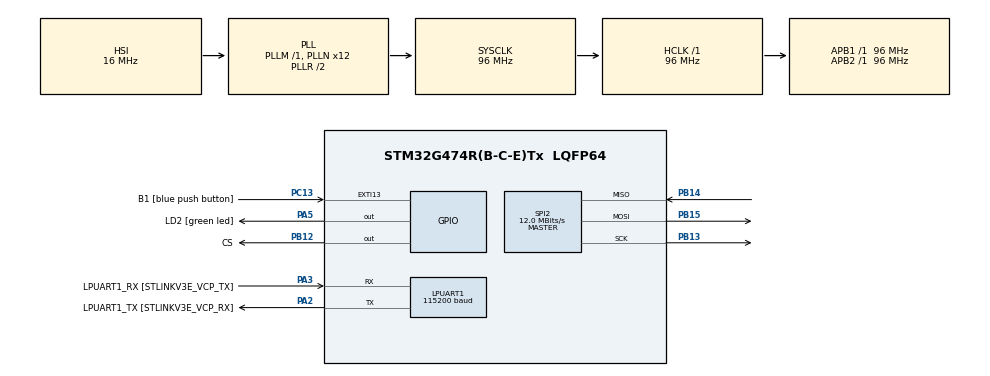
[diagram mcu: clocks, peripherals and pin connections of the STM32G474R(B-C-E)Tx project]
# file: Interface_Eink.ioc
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LPUART1.BaudRate=115200
LPUART1.WordLength=UART_WORDLENGTH_8B
Mcu.Family=STM32G4
Mcu.Name=STM32G474R(B-C-E)Tx
Mcu.Package=LQFP64
NVIC.EXTI15_10_IRQn=true\:0\:0\:false\:false\:true\:true\:true\:true
NVIC.PriorityGroup=NVIC_PRIORITYGROUP_4
PA13.GPIO_Label=T_SWDIO
PA13.Mode=Serial_Wire
PA13.Signal=SYS_JTMS-SWDIO
PA14.GPIO_Label=T_SWCLK
PA14.Mode=Serial_Wire
PA14.Signal=SYS_JTCK-SWCLK
PA2.GPIO_Label=LPUART1_TX [STLINKV3E_VCP_RX]
PA2.Mode=Asynchronous
PA2.Signal=LPUART1_TX
PA3.GPIO_Label=LPUART1_RX [STLINKV3E_VCP_TX]
PA3.Mode=Asynchronous
PA3.Signal=LPUART1_RX
PA5.GPIO_Label=LD2 [green led]
PA5.Signal=GPIO_Output
PB12.GPIO_Label=CS
PB12.GPIO_PuPd=GPIO_PULLUP
PB12.GPIO_Speed=GPIO_SPEED_FREQ_MEDIUM
PB12.PinState=GPIO_PIN_SET
PB12.Signal=GPIO_Output
PB13.GPIO_PuPd=GPIO_PULLDOWN
PB13.GPIO_Speed=GPIO_SPEED_FREQ_HIGH
PB13.Mode=Full_Duplex_Master
PB13.Signal=SPI2_SCK
PB14.GPIO_PuPd=GPIO_PULLDOWN
PB14.GPIO_Speed=GPIO_SPEED_FREQ_HIGH
PB14.Mode=Full_Duplex_Master
PB14.Signal=SPI2_MISO
PB15.GPIO_PuPd=GPIO_PULLDOWN
PB15.GPIO_Speed=GPIO_SPEED_FREQ_HIGH
PB15.Mode=Full_Duplex_Master
PB15.Signal=SPI2_MOSI
PB3.GPIO_Label=T_SWO
PB3.Signal=SYS_JTDO-SWO
PC13.GPIO_Label=B1 [blue push button]
PC13.Signal=GPXTI13
PC14-OSC32_IN.Mode=LSE-External-Oscillator
PC14-OSC32_IN.Signal=RCC_OSC32_IN
PC15-OSC32_OUT.Mode=LSE-External-Oscillator
PC15-OSC32_OUT.Signal=RCC_OSC32_OUT
PF0-OSC_IN.Mode=HSE-External-Oscillator
PF0-OSC_IN.Signal=RCC_OSC_IN
PF1-OSC_OUT.Mode=HSE-External-Oscillator
PF1-OSC_OUT.Signal=RCC_OSC_OUT
ProjectManager.HeapSize=0x200
ProjectManager.StackSize=0x400
ProjectManager.TargetToolchain=STM32CubeIDE
RCC.ADC12Freq_Value=96000000
RCC.ADC345Freq_Value=96000000
RCC.AHBFreq_Value=96000000
RCC.APB1Freq_Value=96000000
RCC.APB1TimFreq_Value=96000000
RCC.APB2Freq_Value=96000000
RCC.APB2TimFreq_Value=96000000
RCC.CortexFreq_Value=96000000
RCC.EXTERNAL_CLOCK_VALUE=12288000
RCC.HCLKFreq_Value=96000000
RCC.HSE_VALUE=24000000
RCC.HSI48_VALUE=48000000
RCC.HSI_VALUE=16000000
RCC.PLLN=12
RCC.RTCClockSelection=RCC_RTCCLKSOURCE_LSE
RCC.SYSCLKFreq_VALUE=96000000
RCC.SYSCLKSource=RCC_SYSCLKSOURCE_PLLCLK
RCC.USBFreq_Value=96000000
RCC.VCOOutputFreq_Value=192000000
SPI2.BaudRatePrescaler=SPI_BAUDRATEPRESCALER_8
SPI2.CalculateBaudRate=12.0 MBits/s
SPI2.DataSize=SPI_DATASIZE_16BIT
SPI2.Direction=SPI_DIRECTION_2LINES
SPI2.Mode=SPI_MODE_MASTER
SPI2.NSSPMode=SPI_NSS_PULSE_DISABLE
SPI2.VirtualType=VM_MASTER
VP_SYS_VS_DBSignals.Mode=DisableDeadBatterySignals
board=NUCLEO-G474RE

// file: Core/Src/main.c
/* USER CODE BEGIN Header */
/**
  ******************************************************************************
  * @file           : main.c
  * @brief          : Main program body
  ******************************************************************************
  * @attention
  *
  * Copyright (c) 2023 STMicroelectronics.
  * All rights reserved.
  *
  * This software is licensed under terms that can be found in the LICENSE file
  * in the root directory of this software component.
  * If no LICENSE file comes with this software, it is provided AS-IS.
  *
  ******************************************************************************
  */
/* USER CODE END Header */
#include "main.h"
#include "../../Drivers/Eink_interface/Inc/Eink_driver.h"
#include <String.h>

UART_HandleTypeDef hlpuart1;

SPI_HandleTypeDef hspi2;

/* USER CODE BEGIN PV */
IT8951Info screenInfo;
ImageLoadSettings renderSettings;
uint16_t FrameBuf[48508];
/* USER CODE END PV */

void SystemClock_Config(void);
static void MX_GPIO_Init(void);
static void MX_LPUART1_UART_Init(void);
static void MX_SPI2_Init(void);

int main(void)
{

  /* MCU Configuration--------------------------------------------------------*/

  /* Reset of all peripherals, Initializes the Flash interface and the Systick. */
  HAL_Init();

  /* Configure the system clock */
  SystemClock_Config();

  /* Initialize all configured peripherals */
  MX_GPIO_Init();
  MX_LPUART1_UART_Init();
  MX_SPI2_Init();
  /* USER CODE BEGIN 2 */
  resetDriver();
	getIT8951Info(&hspi2, &screenInfo);

	writeScreenRegister(&hspi2, 0x0000+0x04, 0x0001);

	renderSettings.endianType = 0; //little
	renderSettings.pixelFormat = 3;
	renderSettings.rotation = 0;

	renderSettings.xBegin = 0;
	renderSettings.yBegin = 0;
	renderSettings.xWidth = screenInfo.screenWidth;
	renderSettings.yHeight = screenInfo.screenWidth;
  /* USER CODE END 2 */

  /* Infinite loop */
  /* USER CODE BEGIN WHILE */
  while (1)
  {
	memset(FrameBuf, 0x00, (screenInfo.screenWidth * screenInfo.screenHeight)/32);
	//	IT8951WaitForDisplayReady();
	IT8951HostAreaPackedPixelWrite(&hspi2, &screenInfo, &renderSettings, FrameBuf);
	IT8951DisplayArea(&hspi2, &renderSettings, 2);
	HAL_Delay(100);
    /* USER CODE END WHILE */

  }
}

void SystemClock_Config(void)
{
  RCC_OscInitTypeDef RCC_OscInitStruct = {0};
  RCC_ClkInitTypeDef RCC_ClkInitStruct = {0};

  /** Configure the main internal regulator output voltage
  */
  HAL_PWREx_ControlVoltageScaling(PWR_REGULATOR_VOLTAGE_SCALE1);

  /** Initializes the RCC Oscillators according to the specified parameters
  * in the RCC_OscInitTypeDef structure.
  */
  RCC_OscInitStruct.OscillatorType = RCC_OSCILLATORTYPE_HSI;
  RCC_OscInitStruct.HSIState = RCC_HSI_ON;
  RCC_OscInitStruct.HSICalibrationValue = RCC_HSICALIBRATION_DEFAULT;
  RCC_OscInitStruct.PLL.PLLState = RCC_PLL_ON;
  RCC_OscInitStruct.PLL.PLLSource = RCC_PLLSOURCE_HSI;
  RCC_OscInitStruct.PLL.PLLM = RCC_PLLM_DIV1;
  RCC_OscInitStruct.PLL.PLLN = 12;
  RCC_OscInitStruct.PLL.PLLP = RCC_PLLP_DIV2;
  RCC_OscInitStruct.PLL.PLLQ = RCC_PLLQ_DIV2;
  RCC_OscInitStruct.PLL.PLLR = RCC_PLLR_DIV2;
  if (HAL_RCC_OscConfig(&RCC_OscInitStruct) != HAL_OK)
  {
    Error_Handler();
  }

  /** Initializes the CPU, AHB and APB buses clocks
  */
  RCC_ClkInitStruct.ClockType = RCC_CLOCKTYPE_HCLK|RCC_CLOCKTYPE_SYSCLK
                              |RCC_CLOCKTYPE_PCLK1|RCC_CLOCKTYPE_PCLK2;
  RCC_ClkInitStruct.SYSCLKSource = RCC_SYSCLKSOURCE_PLLCLK;
  RCC_ClkInitStruct.AHBCLKDivider = RCC_SYSCLK_DIV1;
  RCC_ClkInitStruct.APB1CLKDivider = RCC_HCLK_DIV1;
  RCC_ClkInitStruct.APB2CLKDivider = RCC_HCLK_DIV1;

  if (HAL_RCC_ClockConfig(&RCC_ClkInitStruct, FLASH_LATENCY_3) != HAL_OK)
  {
    Error_Handler();
  }
}

static void MX_LPUART1_UART_Init(void)
{

  hlpuart1.Instance = LPUART1;
  hlpuart1.Init.BaudRate = 115200;
  hlpuart1.Init.WordLength = UART_WORDLENGTH_8B;
  hlpuart1.Init.StopBits = UART_STOPBITS_1;
  hlpuart1.Init.Parity = UART_PARITY_NONE;
  hlpuart1.Init.Mode = UART_MODE_TX_RX;
  hlpuart1.Init.HwFlowCtl = UART_HWCONTROL_NONE;
  hlpuart1.Init.OneBitSampling = UART_ONE_BIT_SAMPLE_DISABLE;
  hlpuart1.Init.ClockPrescaler = UART_PRESCALER_DIV1;
  hlpuart1.AdvancedInit.AdvFeatureInit = UART_ADVFEATURE_NO_INIT;
  if (HAL_UART_Init(&hlpuart1) != HAL_OK)
  {
    Error_Handler();
  }
  if (HAL_UARTEx_SetTxFifoThreshold(&hlpuart1, UART_TXFIFO_THRESHOLD_1_8) != HAL_OK)
  {
    Error_Handler();
  }
  if (HAL_UARTEx_SetRxFifoThreshold(&hlpuart1, UART_RXFIFO_THRESHOLD_1_8) != HAL_OK)
  {
    Error_Handler();
  }
  if (HAL_UARTEx_DisableFifoMode(&hlpuart1) != HAL_OK)
  {
    Error_Handler();
  }

}

static void MX_SPI2_Init(void)
{

  /* SPI2 parameter configuration*/
  hspi2.Instance = SPI2;
  hspi2.Init.Mode = SPI_MODE_MASTER;
  hspi2.Init.Direction = SPI_DIRECTION_2LINES;
  hspi2.Init.DataSize = SPI_DATASIZE_16BIT;
  hspi2.Init.CLKPolarity = SPI_POLARITY_LOW;
  hspi2.Init.CLKPhase = SPI_PHASE_1EDGE;
  hspi2.Init.NSS = SPI_NSS_SOFT;
  hspi2.Init.BaudRatePrescaler = SPI_BAUDRATEPRESCALER_8;
  hspi2.Init.FirstBit = SPI_FIRSTBIT_MSB;
  hspi2.Init.TIMode = SPI_TIMODE_DISABLE;
  hspi2.Init.CRCCalculation = SPI_CRCCALCULATION_DISABLE;
  hspi2.Init.CRCPolynomial = 7;
  hspi2.Init.CRCLength = SPI_CRC_LENGTH_DATASIZE;
  hspi2.Init.NSSPMode = SPI_NSS_PULSE_DISABLE;
  if (HAL_SPI_Init(&hspi2) != HAL_OK)
  {
    Error_Handler();
  }

}

static void MX_GPIO_Init(void)
{
  GPIO_InitTypeDef GPIO_InitStruct = {0};

  /* GPIO Ports Clock Enable */
  __HAL_RCC_GPIOC_CLK_ENABLE();
  __HAL_RCC_GPIOF_CLK_ENABLE();
  __HAL_RCC_GPIOA_CLK_ENABLE();
  __HAL_RCC_GPIOB_CLK_ENABLE();

  /*Configure GPIO pin Output Level */
  HAL_GPIO_WritePin(LD2_GPIO_Port, LD2_Pin, GPIO_PIN_RESET);

  /*Configure GPIO pin Output Level */
  HAL_GPIO_WritePin(CS_GPIO_Port, CS_Pin, GPIO_PIN_SET);

  /*Configure GPIO pin : B1_Pin */
  GPIO_InitStruct.Pin = B1_Pin;
  GPIO_InitStruct.Mode = GPIO_MODE_IT_RISING;
  GPIO_InitStruct.Pull = GPIO_NOPULL;
  HAL_GPIO_Init(B1_GPIO_Port, &GPIO_InitStruct);

  /*Configure GPIO pin : LD2_Pin */
  GPIO_InitStruct.Pin = LD2_Pin;
  GPIO_InitStruct.Mode = GPIO_MODE_OUTPUT_PP;
  GPIO_InitStruct.Pull = GPIO_NOPULL;
  GPIO_InitStruct.Speed = GPIO_SPEED_FREQ_LOW;
  HAL_GPIO_Init(LD2_GPIO_Port, &GPIO_InitStruct);

  /*Configure GPIO pin : CS_Pin */
  GPIO_InitStruct.Pin = CS_Pin;
  GPIO_InitStruct.Mode = GPIO_MODE_OUTPUT_PP;
  GPIO_InitStruct.Pull = GPIO_PULLUP;
  GPIO_InitStruct.Speed = GPIO_SPEED_FREQ_MEDIUM;
  HAL_GPIO_Init(CS_GPIO_Port, &GPIO_InitStruct);

  /* EXTI interrupt init*/
  HAL_NVIC_SetPriority(EXTI15_10_IRQn, 0, 0);
  HAL_NVIC_EnableIRQ(EXTI15_10_IRQn);

}

void Error_Handler(void)
{
  __disable_irq();
  while (1)
  {
  }
}
